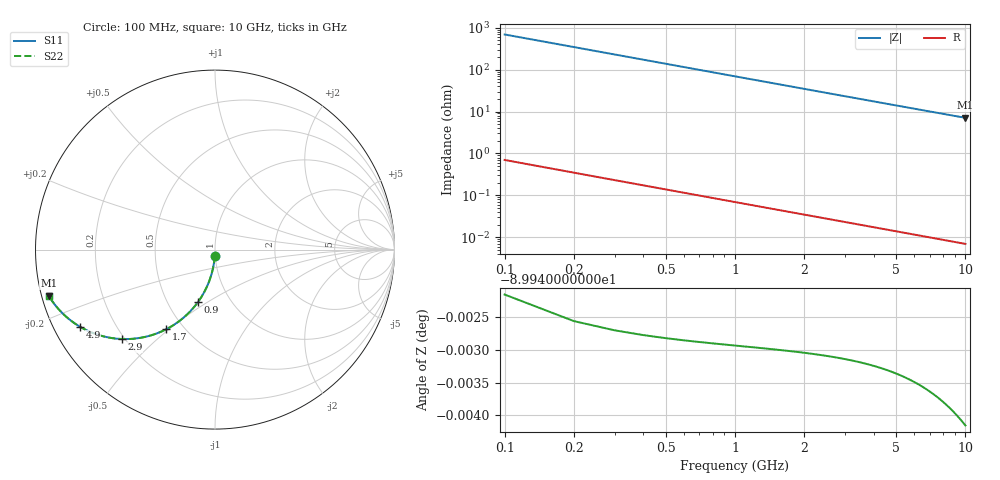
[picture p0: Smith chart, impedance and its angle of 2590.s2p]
# Hz S RI R 50.00
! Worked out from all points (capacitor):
!   100 points, 100 MHz to 10 GHz, reference 50 ohm
!   read as one part in shunt: C = 2.29 pF near 100 MHz
!   lowest |Z| = 7.1 ohm at 10 GHz (marker M1)
!   S11 on the Smith chart (normalised r, x): 100 MHz: 0.99, -0.07; 900 MHz: 0.70, -0.46; 1.7 GHz: 0.40, -0.49; 2.9 GHz: 0.19, -0.39; 4.9 GHz: 0.08, -0.26; 10 GHz: 0.02, -0.14
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1e8  -0.00133 -0.036  0.9987 -0.036  0.9987 -0.036  -0.00133 -0.036
2e8  -0.00524 -0.0716  0.9948 -0.0718  0.9948 -0.0718  -0.00524 -0.0716
3e8  -0.0117 -0.1068  0.9883 -0.1069  0.9883 -0.1069  -0.0117 -0.1068
4e8  -0.0205 -0.141  0.9795 -0.1413  0.9795 -0.1413  -0.0205 -0.141
5e8  -0.0316 -0.1743  0.9684 -0.1746  0.9684 -0.1746  -0.0316 -0.1743
6e8  -0.0448 -0.2062  0.9552 -0.2066  0.9552 -0.2066  -0.0448 -0.2062
7e8  -0.06 -0.2367  0.94 -0.2372  0.94 -0.2372  -0.06 -0.2367
9e8  -0.0953 -0.2928  0.9047 -0.2934  0.9047 -0.2934  -0.0953 -0.2928
1.1e9  -0.1357 -0.3417  0.8642 -0.3424  0.8642 -0.3424  -0.1357 -0.3417
1.3e9  -0.1797 -0.383  0.8203 -0.3839  0.8203 -0.3839  -0.1797 -0.383
1.7e9  -0.2721 -0.444  0.7279 -0.4451  0.7279 -0.4451  -0.2721 -0.444
1.8e9  -0.2952 -0.455  0.7048 -0.4562  0.7048 -0.4562  -0.2952 -0.455
2.3e9  -0.4054 -0.4897  0.5946 -0.4912  0.5946 -0.4912  -0.4054 -0.4897
2.9e9  -0.5194 -0.4982  0.4806 -0.5001  0.4806 -0.5001  -0.5194 -0.4982
3.4e9  -0.5972 -0.4889  0.4028 -0.4911  0.4028 -0.4911  -0.5972 -0.4889
4.1e9  -0.6825 -0.4637  0.3175 -0.4663  0.3175 -0.4663  -0.6825 -0.4637
4.9e9  -0.7538 -0.4287  0.2461 -0.4319  0.2461 -0.4319  -0.7538 -0.4287
5.1e9  -0.7683 -0.4197  0.2317 -0.4231  0.2317 -0.4231  -0.7683 -0.4197
5.9e9  -0.8158 -0.3852  0.1842 -0.3891  0.1842 -0.3891  -0.8158 -0.3852
6.7e9  -0.8508 -0.3536  0.1492 -0.358  0.1492 -0.358  -0.8508 -0.3536
8.4e9  -0.8994 -0.2975  0.1006 -0.303  0.1006 -0.303  -0.8994 -0.2975
1e10  -0.9268 -0.2566  0.0732 -0.2633  0.0732 -0.2633  -0.9268 -0.2566
